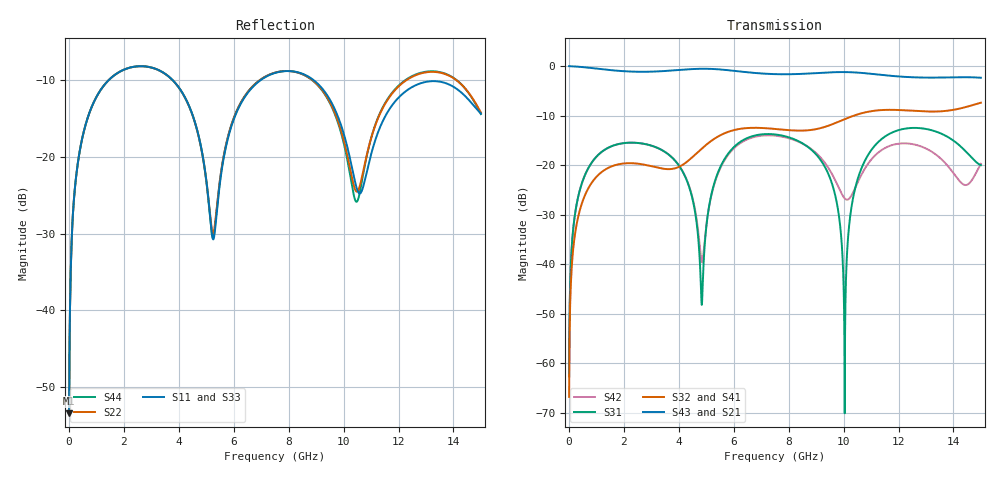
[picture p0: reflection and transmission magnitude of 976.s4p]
! Created with skrf 1.8.0 (http://scikit-rf.org).
# GHz S RI R 50.0
!freq ReS11 ImS11 ReS12 ImS12 ReS13 ImS13
! ReS14 ImS14
! ReS21 ImS21 ReS22 ImS22 ReS23 ImS23
! ReS24 ImS24
! ReS31 ImS31 ReS32 ImS32 ReS33 ImS33
! ReS34 ImS34
! ReS41 ImS41 ReS42 ImS42 ReS43 ImS43
! ReS44 ImS44
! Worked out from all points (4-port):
!   2499 points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, 5 MHz to 15 GHz, reference 50 ohm
!   strongest paths, dB at 5 MHz, 3.476 GHz, 7.19 GHz, 11.1 GHz, 15 GHz:
!     S43: 0.0, -1.0, -1.6, -1.6, -2.3
!     S21: 0.0, -1.0, -1.6, -1.6, -2.3
!     S32: -66.8, -20.8, -12.5, -9.0, -7.4
!     S41: -66.8, -20.9, -12.6, -9.0, -7.4
!     S31: -62.7, -17.3, -13.7, -16.3, -20.0
!     S42: -62.7, -17.3, -14.0, -18.3, -19.7
!   lowest |S11| = -53.4 dB at 5 MHz (marker M1), VSWR 1.00, Z = 50.2 + j0.129 ohm
!   |S11| at or under -10 dB: start of sweep to 1.457 GHz; 3.765 GHz to 6.995 GHz (3.23 GHz wide, 60 % of centre); 8.896 GHz to end of sweep
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0.005  0.00171 0.00129  0.9983 -0.00332  8.78e-05 0.00073  -8.49e-05 -0.000449
       0.9983 -0.00332  0.00171 0.00129  -8.49e-05 -0.000449  8.77e-05 0.00073
       8.78e-05 0.00073  -8.49e-05 -0.000449  0.00171 0.00129  0.9983 -0.00332
       -8.49e-05 -0.000449  8.77e-05 0.00073  0.9983 -0.00332  0.00171 0.00129
1.519383  0.2739 0.1731  0.5373 -0.735  0.1396 0.0651  -0.0961 -0.00398
          0.5373 -0.735  0.2739 0.1731  -0.0963 -0.00374  0.1392 0.0657
          0.1396 0.0651  -0.0963 -0.00374  0.2737 0.1732  0.5373 -0.735
          -0.0961 -0.00398  0.1392 0.0657  0.5373 -0.735  0.274 0.173
4.839516  0.0512 -0.096  -0.8864 -0.3117  -0.0039 7.9e-05  -0.0463 0.1398
          -0.8864 -0.3117  0.0529 -0.0943  -0.0429 0.1409  -0.0103 -0.00189
          -0.0039 7.9e-05  -0.0429 0.1409  0.0527 -0.0948  -0.8865 -0.3118
          -0.0463 0.1398  -0.0103 -0.00189  -0.8865 -0.3118  0.051 -0.0943
8.15965  0.3571 -0.0375  -0.0067 0.8282  0.1631 -0.0863  0.2116 -0.0659
         -0.0067 0.8282  0.3559 -0.0429  0.2115 -0.0742  0.1598 -0.0855
         0.1631 -0.0863  0.2115 -0.0742  0.3539 -0.0356  -0.00757 0.829
         0.2116 -0.0659  0.1598 -0.0855  -0.00757 0.829  0.3554 -0.0438
10.04168  0.087 -0.1019  0.7719 0.4007  -0.000267 0.000163  0.1333 -0.2589
          0.7719 0.4007  0.0823 -0.0883  0.1204 -0.2652  -0.0433 -0.016
          -0.000267 0.000163  0.1204 -0.2652  0.0905 -0.096  0.7721 0.4014
          0.1333 -0.2589  -0.0433 -0.016  0.7721 0.4014  0.0746 -0.0874
11.24844  0.108 0.0939  0.7942 -0.2148  0.141 0.0943  -0.1166 -0.3377
          0.7942 -0.2148  0.1309 0.1188  -0.1326 -0.3319  0.0642 0.1164
          0.141 0.0943  -0.1326 -0.3319  0.1134 0.0936  0.7942 -0.2134
          -0.1166 -0.3377  0.0642 0.1164  0.7942 -0.2134  0.1253 0.1272
15  0.1859 -0.044  -0.5657 -0.5122  -0.0978 -0.0209  -0.3039 0.302
    -0.5657 -0.5122  0.1652 -0.101  -0.282 0.3205  -0.0933 0.0442
    -0.0978 -0.0209  -0.282 0.3205  0.1927 -0.0415  -0.562 -0.5162
    -0.3039 0.302  -0.0933 0.0442  -0.562 -0.5162  0.1607 -0.0998
